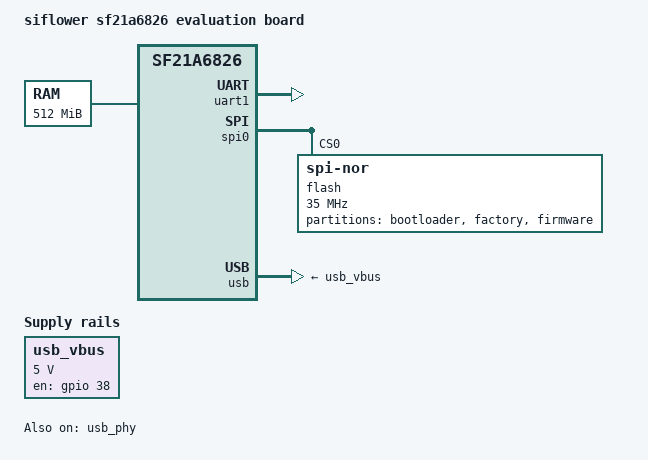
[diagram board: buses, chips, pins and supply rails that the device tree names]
/dts-v1/;
#include "sf21a6826.dtsi"

/ {
	model = "siflower sf21a6826 evaluation board";
	compatible = "siflower,sf21a6826-evb", "siflower,sf21a6826";

	chosen {
		bootargs = "earlycon root=/dev/fit0 rootwait";
		rootdisk = <&rootdisk>;
		stdout-path = "serial1:115200n8";
	};

	memory@20000000 {
		device_type = "memory";
		reg = <0x0 0x20000000 0x0 0x20000000>;
	};

	usb_vbus: regulator@0 {
		compatible = "regulator-fixed";
		regulator-name = "usb_vbus";
		regulator-min-microvolt = <5000000>;
		regulator-max-microvolt = <5000000>;
		gpio = <&gpio 38 GPIO_ACTIVE_HIGH>;
		enable-active-high;
	};
};

&uart1 {
	status = "okay";
};

&spi0 {
	status = "okay";
	flash@0 {
		compatible = "jedec,spi-nor";
		reg = <0>;
		spi-max-frequency = <35000000>;
		spi-tx-bus-width = <4>;
		spi-rx-bus-width = <4>;
		#address-cells = <1>;
		#size-cells = <1>;
		partitions {
			compatible = "fixed-partitions";
			#address-cells = <1>;
			#size-cells = <1>;

			partition@0 {
				label = "bootloader";
				reg = <0x0 0x90000>;
				read-only;
			};

			factory: partition@90000 {
				label = "factory";
				reg = <0x90000 0x10000>;
			};

			rootdisk: partition@a0000 {
				label = "firmware";
				reg = <0xa0000 0>;
				compatible = "denx,fit";
			};
		};
	};
};

&usb_phy {
	status = "okay";
};

&usb {
	status = "okay";
	vbus-supply = <&usb_vbus>;
};
